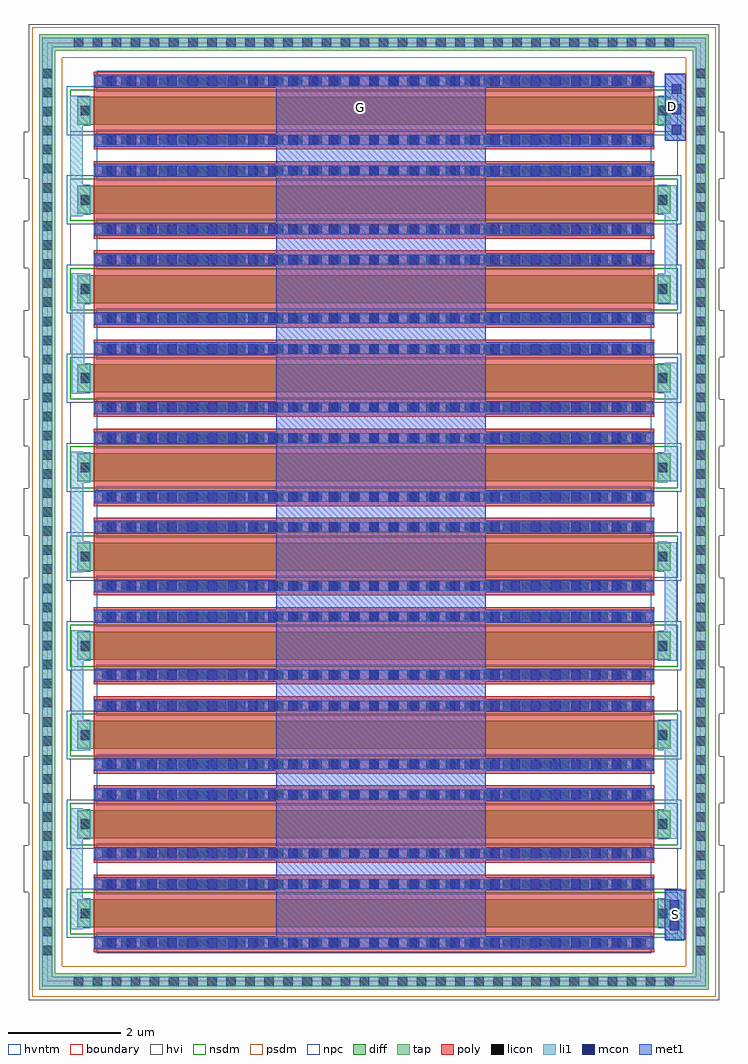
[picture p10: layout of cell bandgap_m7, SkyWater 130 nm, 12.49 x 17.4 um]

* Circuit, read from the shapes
.subckt bandgap_m7 D G S
XM1 S G n1 VSUBS sky130_fd_pr__nfet_g5v0d10v5 w=0.5 l=10
XM2 n2 G n1 VSUBS sky130_fd_pr__nfet_g5v0d10v5 w=0.5 l=10
XM3 n2 G n3 VSUBS sky130_fd_pr__nfet_g5v0d10v5 w=0.5 l=10
XM4 n4 G n3 VSUBS sky130_fd_pr__nfet_g5v0d10v5 w=0.5 l=10
XM5 n4 G n5 VSUBS sky130_fd_pr__nfet_g5v0d10v5 w=0.5 l=10
XM6 n6 G n5 VSUBS sky130_fd_pr__nfet_g5v0d10v5 w=0.5 l=10
XM7 n6 G n7 VSUBS sky130_fd_pr__nfet_g5v0d10v5 w=0.5 l=10
XM8 n8 G n7 VSUBS sky130_fd_pr__nfet_g5v0d10v5 w=0.5 l=10
XM9 n8 G n9 VSUBS sky130_fd_pr__nfet_g5v0d10v5 w=0.5 l=10
XM10 D G n9 VSUBS sky130_fd_pr__nfet_g5v0d10v5 w=0.5 l=10
.ends

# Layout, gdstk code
import gdstk
lib = gdstk.Library(unit=1e-6, precision=1e-09)
def R(c, l, rs):  # rectangles x0, y0, x1, y1
    for r in rs: c.add(gdstk.rectangle(r[:2], r[2:], *l))
def A(c, l, x, y, w, h, nx, ny, dx, dy):  # array of equal rectangles
    R(c, l, [(x+i*dx, y+j*dy, x+i*dx+w, y+j*dy+h) for i in range(nx) for j in range(ny)])
diff = (65, 20)
tap = (65, 44)
poly = (66, 20)
licon = (66, 44)
li1 = (67, 20)
mcon = (67, 44)
met1 = (68, 20)
hvi = (75, 20)
nsdm = (93, 44)
psdm = (94, 20)
npc = (95, 20)
hvntm = (125, 20)
boundary = (235, 4)

sky130_fd_pr__nfet_g5v0d = lib.new_cell('sky130_fd_pr__nfet_g5v0d10v5_4GJ86D')
A(sky130_fd_pr__nfet_g5v0d, diff, -5.29, -7.405, 10.58, 0.5, 1, 10, 0, 1.59)
R(sky130_fd_pr__nfet_g5v0d, tap, [(-5.97,-8.515,5.97,-8.225), (-5.97,-8.225,-5.68,8.225), (5.68,-8.225,5.97,8.225), (-5.97,8.225,5.97,8.515)])
A(sky130_fd_pr__nfet_g5v0d, poly, -5, -7.845, 10, 1.38, 1, 10, 0, 1.59)
A(sky130_fd_pr__nfet_g5v0d, licon, -5.355, -8.455, 0.17, 0.17, 32, 2, 0.34, 16.74)
A(sky130_fd_pr__nfet_g5v0d, licon, -5.91, -7.905, 0.17, 0.17, 1, 47, 0, 0.34)
A(sky130_fd_pr__nfet_g5v0d, licon, 5.74, -7.905, 0.17, 0.17, 1, 47, 0, 0.34)
A(sky130_fd_pr__nfet_g5v0d, licon, -4.845, -7.765, 0.17, 0.17, 29, 2, 0.34, 1.05)
A(sky130_fd_pr__nfet_g5v0d, licon, -5.23, -7.24, 0.17, 0.17, 1, 10, 0, 1.59)
A(sky130_fd_pr__nfet_g5v0d, licon, 5.06, -7.24, 0.17, 0.17, 1, 10, 0, 1.59)
A(sky130_fd_pr__nfet_g5v0d, licon, -4.845, -6.175, 0.17, 0.17, 29, 2, 0.34, 1.05)
A(sky130_fd_pr__nfet_g5v0d, licon, -4.845, -4.585, 0.17, 0.17, 29, 2, 0.34, 1.05)
A(sky130_fd_pr__nfet_g5v0d, licon, -4.845, -2.995, 0.17, 0.17, 29, 2, 0.34, 1.05)
A(sky130_fd_pr__nfet_g5v0d, licon, -4.845, -1.405, 0.17, 0.17, 29, 2, 0.34, 1.05)
A(sky130_fd_pr__nfet_g5v0d, licon, -4.845, 0.185, 0.17, 0.17, 29, 2, 0.34, 1.05)
A(sky130_fd_pr__nfet_g5v0d, licon, -4.845, 1.775, 0.17, 0.17, 29, 2, 0.34, 1.05)
A(sky130_fd_pr__nfet_g5v0d, licon, -4.845, 3.365, 0.17, 0.17, 29, 2, 0.34, 1.05)
A(sky130_fd_pr__nfet_g5v0d, licon, -4.845, 4.955, 0.17, 0.17, 29, 2, 0.34, 1.05)
A(sky130_fd_pr__nfet_g5v0d, licon, -4.845, 6.545, 0.17, 0.17, 29, 2, 0.34, 1.05)
A(sky130_fd_pr__nfet_g5v0d, li1, -5.23, -7.425, 0.17, 0.54, 1, 10, 0, 1.59)
A(sky130_fd_pr__nfet_g5v0d, li1, 5.06, -7.425, 0.17, 0.54, 1, 10, 0, 1.59)
R(sky130_fd_pr__nfet_g5v0d, li1, [(-5.91,-8.455,5.91,-8.285), (-5.91,-8.285,-5.74,8.285), (5.74,-8.285,5.91,8.285), (-5,-7.765,5,-7.595), (-5,-6.715,5,-6.545), (-5,-6.175,5,-6.005), (-5,-5.125,5,-4.955), (-5,-4.585,5,-4.415), (-5,-3.535,5,-3.365), (-5,-2.995,5,-2.825), (-5,-1.945,5,-1.775), (-5,-1.405,5,-1.235), (-5,-0.355,5,-0.185), (-5,0.185,5,0.355), (-5,1.235,5,1.405), (-5,1.775,5,1.945), (-5,2.825,5,2.995), (-5,3.365,5,3.535), (-5,4.415,5,4.585), (-5,4.955,5,5.125), (-5,6.005,5,6.175), (-5,6.545,5,6.715), (-5,7.595,5,7.765), (-5.91,8.285,5.91,8.455)])
A(sky130_fd_pr__nfet_g5v0d, mcon, -4.765, -7.765, 0.17, 0.17, 27, 2, 0.36, 1.05)
A(sky130_fd_pr__nfet_g5v0d, mcon, -4.765, -6.175, 0.17, 0.17, 27, 2, 0.36, 1.05)
A(sky130_fd_pr__nfet_g5v0d, mcon, -4.765, -4.585, 0.17, 0.17, 27, 2, 0.36, 1.05)
A(sky130_fd_pr__nfet_g5v0d, mcon, -4.765, -2.995, 0.17, 0.17, 27, 2, 0.36, 1.05)
A(sky130_fd_pr__nfet_g5v0d, mcon, -4.765, -1.405, 0.17, 0.17, 27, 2, 0.36, 1.05)
A(sky130_fd_pr__nfet_g5v0d, mcon, -4.765, 0.185, 0.17, 0.17, 27, 2, 0.36, 1.05)
A(sky130_fd_pr__nfet_g5v0d, mcon, -4.765, 1.775, 0.17, 0.17, 27, 2, 0.36, 1.05)
A(sky130_fd_pr__nfet_g5v0d, mcon, -4.765, 3.365, 0.17, 0.17, 27, 2, 0.36, 1.05)
A(sky130_fd_pr__nfet_g5v0d, mcon, -4.765, 4.955, 0.17, 0.17, 27, 2, 0.36, 1.05)
A(sky130_fd_pr__nfet_g5v0d, mcon, -4.765, 6.545, 0.17, 0.17, 27, 2, 0.36, 1.05)
R(sky130_fd_pr__nfet_g5v0d, met1, [(-4.98,-7.795,4.98,-7.565), (-4.98,-6.745,4.98,-6.515), (-4.98,-6.205,4.98,-5.975), (-4.98,-5.155,4.98,-4.925), (-4.98,-4.615,4.98,-4.385), (-4.98,-3.565,4.98,-3.335), (-4.98,-3.025,4.98,-2.795), (-4.98,-1.975,4.98,-1.745), (-4.98,-1.435,4.98,-1.205), (-4.98,-0.385,4.98,-0.155), (-4.98,0.155,4.98,0.385), (-4.98,1.205,4.98,1.435), (-4.98,1.745,4.98,1.975), (-4.98,2.795,4.98,3.025), (-4.98,3.335,4.98,3.565), (-4.98,4.385,4.98,4.615), (-4.98,4.925,4.98,5.155), (-4.98,5.975,4.98,6.205), (-4.98,6.515,4.98,6.745), (-4.98,7.565,4.98,7.795)])
A(sky130_fd_pr__nfet_g5v0d, hvi, -6.245, -6.72, 0.84, 0.72, 1, 9, 0, 1.59)
A(sky130_fd_pr__nfet_g5v0d, hvi, 5.405, -6.72, 0.84, 0.72, 1, 9, 0, 1.59)
A(sky130_fd_pr__nfet_g5v0d, hvi, -6.155, -5.94, 12.31, 0.75, 1, 8, 0, 1.59)
R(sky130_fd_pr__nfet_g5v0d, hvi, [(-6.155,-8.7,6.155,-6.78), (-6.245,-6.78,6.245,-6.72), (-6.245,-6,6.245,-5.94), (-6.245,-5.19,6.245,-5.13), (-6.245,-4.41,6.245,-4.35), (-6.245,-3.6,6.245,-3.54), (-6.245,-2.82,6.245,-2.76), (-6.245,-2.01,6.245,-1.95), (-6.245,-1.23,6.245,-1.17), (-6.245,-0.42,6.245,-0.36), (-6.245,0.36,6.245,0.42), (-6.245,1.17,6.245,1.23), (-6.245,1.95,6.245,2.01), (-6.245,2.76,6.245,2.82), (-6.245,3.54,6.245,3.6), (-6.245,4.35,6.245,4.41), (-6.245,5.13,6.245,5.19), (-6.245,5.94,6.245,6), (-6.245,6.72,6.245,6.78), (-6.155,6.78,6.155,8.7)])
A(sky130_fd_pr__nfet_g5v0d, nsdm, -5.415, -7.53, 10.83, 0.75, 1, 10, 0, 1.59)
R(sky130_fd_pr__nfet_g5v0d, psdm, [(-6.095,-8.64,6.095,-8.1), (-6.095,-8.1,-5.555,8.1), (5.555,-8.1,6.095,8.1), (-6.095,8.1,6.095,8.64)])
A(sky130_fd_pr__nfet_g5v0d, npc, -4.945, -6.815, 9.89, 0.91, 1, 9, 0, 1.59)
R(sky130_fd_pr__nfet_g5v0d, npc, [(-4.945,-7.865,4.945,-7.495), (-4.945,7.495,4.945,7.865)])
A(sky130_fd_pr__nfet_g5v0d, hvntm, -5.475, -7.59, 10.95, 0.87, 1, 10, 0, 1.59)
R(sky130_fd_pr__nfet_g5v0d, boundary, [(-5.825,-8.37,5.825,8.37)])

bandgap_m7 = lib.new_cell('bandgap_m7')
R(bandgap_m7, li1, [(-11.2,-4.55,-10.87,-3.65), (-21.81,-4.34,-21.59,-2.19), (-11.215,-2.73,-10.995,-0.61), (-21.8,-1.16,-21.58,0.99), (-11.22,0.44,-11,2.56), (-21.805,2.02,-21.585,4.17), (-11.215,3.64,-10.995,5.76), (-21.79,5.2,-21.57,7.35), (-11.22,6.8,-11,8.92), (-21.815,8.37,-21.595,10.52), (-11.215,9.72,-10.845,10.92)])
A(bandgap_m7, mcon, -11.09, 9.83, 0.17, 0.17, 1, 3, 0, 0.36)
R(bandgap_m7, mcon, [(-11.125,-4.36,-10.955,-4.19), (-11.125,-4,-10.955,-3.83)])
R(bandgap_m7, met1, [(-18.14,-4.62,-14.41,10.84), (-11.22,-4.53,-10.85,-3.64), (-11.21,9.71,-10.84,10.9)])
bandgap_m7.add(gdstk.Reference(sky130_fd_pr__nfet_g5v0d, (-16.4,3.095)))
bandgap_m7.add(gdstk.Label('D', (-11.07,10.33), layer=68, texttype=5))
bandgap_m7.add(gdstk.Label('G', (-16.64,10.3), layer=68, texttype=5))
bandgap_m7.add(gdstk.Label('S', (-11.02,-4.08), layer=68, texttype=5))

lib.write_gds('bandgap_m7.gds')
